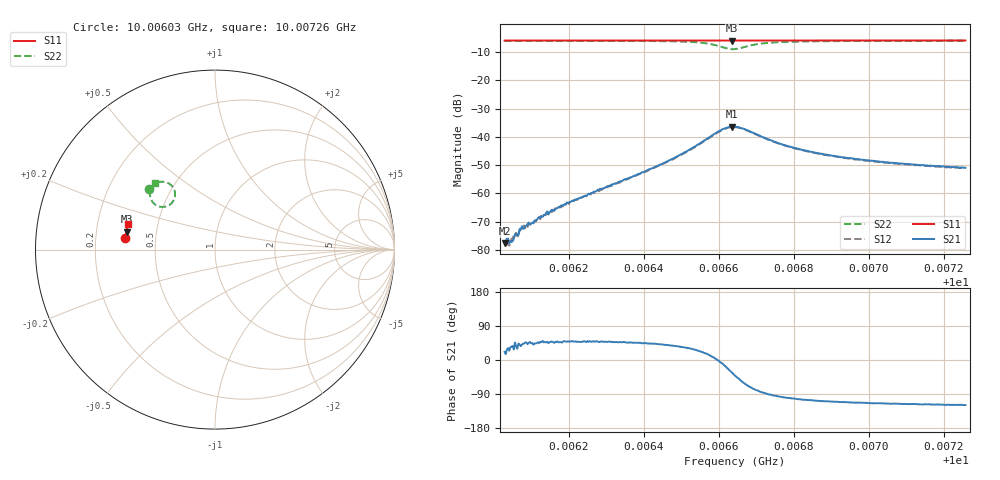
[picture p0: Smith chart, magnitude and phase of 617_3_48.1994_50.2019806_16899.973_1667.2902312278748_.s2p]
#  HZ  S  RI  R  50.00
! Rohde & Schwarz Vector Network Analyzer
! Rohde-Schwarz,ZNB20-2Port,1311601062101988,3.16
! Created: UTC 3/20/2024, 12:03:45 PM
! freq[Hz]  re:S11  im:S11  re:S21  im:S21  re:S12  im:S12  re:S22  im:S22
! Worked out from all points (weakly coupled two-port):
!   401 points, 10.00603 GHz to 10.00726 GHz, reference 50 ohm
!   highest |S21| = -36.35 dB at 10.00663 GHz (marker M1); lowest = -77.6 dB at 10.00603 GHz (marker M2)
!   lowest |S11| = -6.0 dB at 10.00663 GHz (marker M3), VSWR 3.02, Z = 16.7 + j4.5 ohm
!   |S11| at or under -10 dB: nowhere
!   |S22| runs from -9.0 to -6.0 dB; largest |S21 - S12| = 0.0012
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1.0006029e10  -0.4991 0.0622  0.000122 4.8e-05  0.000111 3.74e-05  -0.3665 0.3379
1.0006047e10  -0.4991 0.0635  0.000113 7.97e-05  0.000151 5.99e-05  -0.3655 0.3392
1.0006053e10  -0.4991 0.0638  0.00014 7.42e-05  0.00013 0.000134  -0.3651 0.3396
1.0006062e10  -0.4989 0.0644  0.000163 9.37e-05  0.000126 0.000101  -0.3647 0.3401
1.0006075e10  -0.4989 0.0653  0.000202 0.000171  0.000157 0.000186  -0.3638 0.3411
1.0006105e10  -0.4988 0.0673  0.000227 0.000194  0.00019 0.000231  -0.3619 0.343
1.0006121e10  -0.4985 0.0685  0.000274 0.000269  0.000274 0.000274  -0.361 0.344
1.0006173e10  -0.4982 0.0717  0.000402 0.000422  0.000343 0.000452  -0.3573 0.3479
1.0006234e10  -0.4978 0.0759  0.000572 0.000634  0.000532 0.000673  -0.3522 0.3526
1.000644e10  -0.4959 0.0892  0.00236 0.00209  0.0022 0.00218  -0.3233 0.372
1.0006508e10  -0.495 0.0936  0.00443 0.0029  0.00417 0.00304  -0.2993 0.3779
1.0006566e10  -0.4938 0.0975  0.00865 0.00263  0.00831 0.003  -0.2573 0.3686
1.0006606e10  -0.493 0.0999  0.0131 -0.00166  0.0129 -0.000823  -0.2234 0.3205
1.0006634e10  -0.4924 0.1008  0.0129 -0.00814  0.0131 -0.00707  -0.2387 0.2626
1.0006643e10  -0.4926 0.1011  0.0113 -0.01  0.0117 -0.00896  -0.2549 0.2484
1.0006664e10  -0.4926 0.1022  0.00717 -0.0121  0.0077 -0.0114  -0.2987 0.2379
1.000671e10  -0.4927 0.1052  0.00115 -0.0103  0.00165 -0.0102  -0.351 0.2696
1.0006772e10  -0.4924 0.1095  -0.00108 -0.0072  -0.000645 -0.00715  -0.3623 0.3069
1.0006849e10  -0.4914 0.1144  -0.00152 -0.00522  -0.00125 -0.00515  -0.3587 0.3308
1.0006941e10  -0.4903 0.1205  -0.00156 -0.00397  -0.00137 -0.00398  -0.352 0.3464
1.0007054e10  -0.4886 0.1276  -0.00151 -0.00318  -0.00128 -0.00323  -0.3443 0.3587
1.0007257e10  -0.4856 0.1404  -0.00137 -0.00249  -0.00126 -0.00255  -0.3322 0.3738
